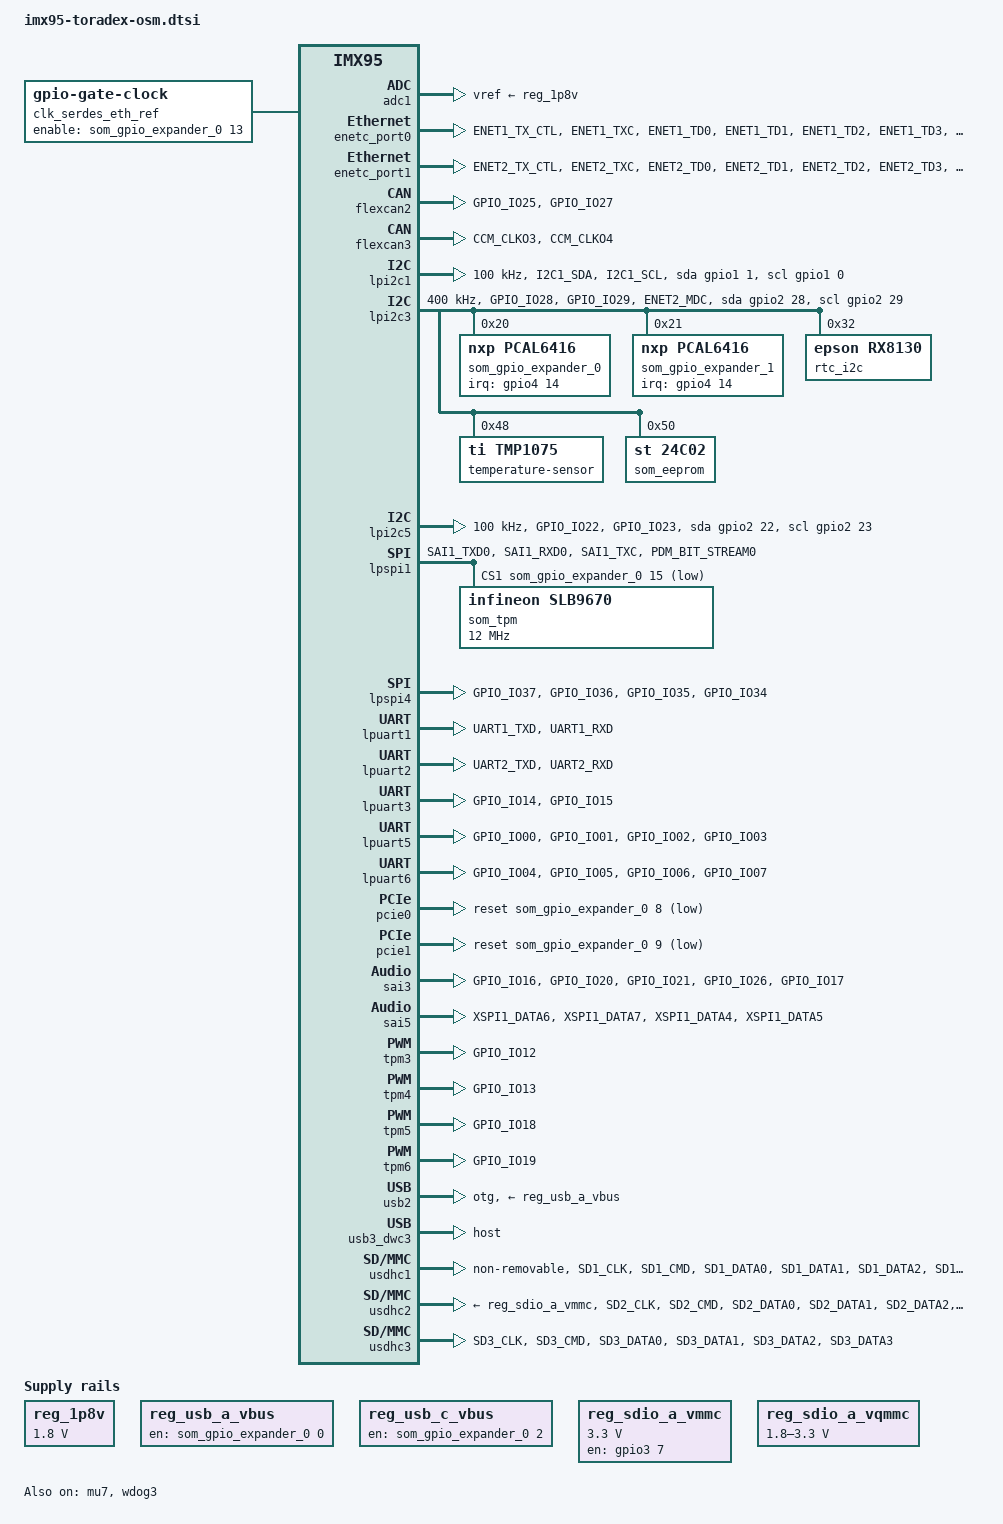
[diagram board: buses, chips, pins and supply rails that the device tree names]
// SPDX-License-Identifier: GPL-2.0-only OR MIT
/*
 * Copyright (c) Toradex
 *
 * Toradex OSM iMX95 SoM
 *
 * https://www.toradex.com/computer-on-modules/osm-arm-family/nxp-imx95
 */

#include "imx95.dtsi"

/ {
	aliases {
		can0 = &flexcan2;
		can1 = &flexcan3;
		eeprom0 = &som_eeprom;
		ethernet0 = &enetc_port0;
		ethernet1 = &enetc_port1;
		ethernet2 = &enetc_port2;
		i2c0 = &lpi2c3;
		i2c1 = &lpi2c1;
		i2c2 = &lpi2c5;
		mmc0 = &usdhc1;
		mmc1 = &usdhc2;
		mmc2 = &usdhc3;
		rtc0 = &rtc_i2c;
		rtc1 = &scmi_bbm;
		serial0 = &lpuart1;
		serial1 = &lpuart6;
		serial2 = &lpuart5;
		serial3 = &lpuart3;
		serial4 = &lpuart2;
		usb0 = &usb2;
		usb1 = &usb3;
	};

	chosen {
		stdout-path = "serial0:115200n8";
	};

	clk_serdes_eth_ref: clock-eth-ref {
		compatible = "gpio-gate-clock";
		#clock-cells = <0>;
		/* CTRL_ETH_REF_CLK_STBY# */
		enable-gpios = <&som_gpio_expander_0 13 GPIO_ACTIVE_HIGH>;
	};

	reg_1p8v: regulator-1p8v {
		compatible = "regulator-fixed";
		regulator-max-microvolt = <1800000>;
		regulator-min-microvolt = <1800000>;
		regulator-name = "On-module +V1.8";
	};

	reg_usb_a_vbus: regulator-usb-a-vbus {
		compatible = "regulator-fixed";
		/* OSM USB_A_EN (OSM_AC16) */
		gpios = <&som_gpio_expander_0 0 GPIO_ACTIVE_HIGH>;
		enable-active-high;
		regulator-name = "USB_A_EN";
	};

	reg_usb_c_vbus: regulator-usb-c-vbus {
		compatible = "regulator-fixed";
		/* OSM USB_C_EN (OSM_C10) */
		gpios = <&som_gpio_expander_0 2 GPIO_ACTIVE_HIGH>;
		enable-active-high;
		regulator-name = "USB_C_EN";
	};

	reg_sdio_a_vmmc: regulator-usdhc2-vmmc {
		compatible = "regulator-fixed";
		pinctrl-names = "default";
		pinctrl-0 = <&pinctrl_sdio_a_pwr_en>;
		gpios = <&gpio3 7 GPIO_ACTIVE_HIGH>;
		enable-active-high;
		off-on-delay-us = <100000>;
		regulator-max-microvolt = <3300000>;
		regulator-min-microvolt = <3300000>;
		regulator-name = "SDIO_A_PWR_EN";
		startup-delay-us = <20000>;
	};

	reg_sdio_a_vqmmc: regulator-usdhc2-vqmmc {
		compatible = "regulator-gpio";
		pinctrl-names = "default";
		pinctrl-0 = <&pinctrl_sdio_a_vsel>;
		gpios = <&gpio3 19 GPIO_ACTIVE_HIGH>;
		regulator-max-microvolt = <3300000>;
		regulator-min-microvolt = <1800000>;
		regulator-name = "PMIC_SDIO_A_VSEL";
		states = <1800000 0x1>, <3300000 0x0>;
	};

	remoteproc-cm7 {
		compatible = "fsl,imx95-cm7";
		mbox-names = "tx", "rx", "rxdb";
		mboxes = <&mu7 0 1 &mu7 1 1 &mu7 3 1>;
		memory-region = <&vdev0buffer>, <&vdev0vring0>, <&vdev0vring1>,
				<&vdev1vring0>, <&vdev1vring1>, <&rsc_table>, <&m7_reserved>;
	};

	reserved-memory {
		#address-cells = <2>;
		#size-cells = <2>;
		ranges;

		linux_cma: linux,cma {
			compatible = "shared-dma-pool";
			alloc-ranges = <0 0x80000000 0 0x7f000000>;
			linux,cma-default;
			reusable;
			size = <0 0x3c000000>;
		};

		m7_reserved: memory@80000000 {
			reg = <0 0x80000000 0 0x1000000>;
			no-map;
		};

		vdev0vring0: vdev0vring0@88000000 {
			reg = <0 0x88000000 0 0x8000>;
			no-map;
		};

		vdev0vring1: vdev0vring1@88008000 {
			reg = <0 0x88008000 0 0x8000>;
			no-map;
		};

		vdev1vring0: vdev1vring0@88010000 {
			reg = <0 0x88010000 0 0x8000>;
			no-map;
		};

		vdev1vring1: vdev1vring1@88018000 {
			reg = <0 0x88018000 0 0x8000>;
			no-map;
		};

		vdev0buffer: vdev0buffer@88020000 {
			compatible = "shared-dma-pool";
			reg = <0 0x88020000 0 0x100000>;
			no-map;
		};

		rsc_table: rsc-table@88220000 {
			reg = <0 0x88220000 0 0x1000>;
			no-map;
		};
	};
};

/* OSM ADC_0, ADC_1 */
&adc1 {
	vref-supply = <&reg_1p8v>;
};

/* OSM ETH_A */
&enetc_port0 {
	pinctrl-names = "default";
	pinctrl-0 = <&pinctrl_eth_a>;
};

/* OSM ETH_B */
&enetc_port1 {
	pinctrl-names = "default";
	pinctrl-0 = <&pinctrl_eth_b>;
};

/* OSM ETH_C */
&enetc_port2 {
	clocks = <&clk_serdes_eth_ref>;
	clock-names = "ref";
};

/* OSM CAN_A */
&flexcan2 {
	pinctrl-names = "default";
	pinctrl-0 = <&pinctrl_can_a>;
};

/* OSM CAN_B */
&flexcan3 {
	pinctrl-names = "default";
	pinctrl-0 = <&pinctrl_can_b>;
};

&gpio1 {
	gpio-line-names =
		"OSM_AA15", /* 0 */
		"OSM_AA16",
		"",
		"",
		"",
		"",
		"",
		"",
		"OSM_F19",
		"OSM_AA23",
		"OSM_G19", /* 10 */
		"OSM_L17"; /* OSM GPIO_A_7/SPI_B_CS1# */

	status = "okay";
};

&gpio2 {
	gpio-line-names =
		"", /* 0 */
		"",
		"",
		"",
		"",
		"",
		"",
		"",
		"",
		"",
		"", /* 10 */
		"",
		"",
		"",
		"",
		"",
		"",
		"",
		"",
		"",
		"", /* 20 */
		"",
		"OSM_AA21",
		"OSM_AA20",
		"",
		"",
		"",
		"",
		"I2C_SOM_SDA",
		"I2C_SOM_SCL";
};

&gpio3 {
	gpio-line-names =
		"OSM_J21", /* 0 */
		"",
		"",
		"",
		"",
		"",
		"",
		"OSM_D21",
		"",
		"",
		"", /* 10 */
		"",
		"",
		"",
		"",
		"",
		"",
		"",
		"",
		"PMIC_SDIO_A_VSEL";
};

&gpio4 {
	gpio-line-names =
		"", /* 0 */
		"",
		"",
		"",
		"",
		"",
		"",
		"",
		"",
		"",
		"", /* 10 */
		"",
		"",
		"",
		"CTRL_GPIO_EXP_INT#",
		"OSM_T2";
};

&gpio5 {
	gpio-line-names =
		"OSM_D17", /* OSM GPIO_A_0 */
		"OSM_E17", /* OSM GPIO_A_1 */
		"OSM_F17", /* OSM GPIO_A_2 */
		"OSM_G17", /* OSM GPIO_A_3 */
		"",
		"",
		"",
		"",
		"OSM_E19",
		"OSM_H17", /* OSM GPIO_A_4 */
		"OSM_J17", /* OSM GPIO_A_5 */
		"OSM_D19",
		"",
		"OSM_K17", /* OSM GPIO_A_6/SPI_A_CS1# */
		"OSM_Y15";
};

/* OSM I2C_A */
&lpi2c1 {
	pinctrl-names = "default", "gpio";
	pinctrl-0 = <&pinctrl_i2c_a>;
	pinctrl-1 = <&pinctrl_i2c_a_gpio>;
	clock-frequency = <100000>;
	scl-gpios = <&gpio1 0 (GPIO_ACTIVE_HIGH | GPIO_OPEN_DRAIN)>;
	sda-gpios = <&gpio1 1 (GPIO_ACTIVE_HIGH | GPIO_OPEN_DRAIN)>;
};

/* I2C_SOM */
&lpi2c3 {
	pinctrl-names = "default", "gpio";
	pinctrl-0 = <&pinctrl_i2c_som>, <&pinctrl_ctrl_gpio_exp_int>;
	pinctrl-1 = <&pinctrl_i2c_som_gpio>, <&pinctrl_ctrl_gpio_exp_int>;
	clock-frequency = <400000>;
	scl-gpios = <&gpio2 29 (GPIO_ACTIVE_HIGH | GPIO_OPEN_DRAIN)>;
	sda-gpios = <&gpio2 28 (GPIO_ACTIVE_HIGH | GPIO_OPEN_DRAIN)>;

	status = "okay";

	som_gpio_expander_0: gpio@20 {
		compatible = "nxp,pcal6416";
		reg = <0x20>;
		#interrupt-cells = <2>;
		interrupt-controller;
		interrupt-parent = <&gpio4>;
		interrupts = <14 IRQ_TYPE_LEVEL_LOW>;
		#gpio-cells = <2>;
		gpio-controller;
		gpio-line-names =
			"OSM_AC16", /* 0 */
			"OSM_AC15",
			"OSM_C10",
			"OSM_C8",
			"OSM_H19", /* OSM GPIO_B_4 */
			"OSM_J19", /* OSM GPIO_B_5 */
			"OSM_K19", /* OSM GPIO_B_6 */
			"OSM_L19", /* OSM GPIO_B_7 */
			"OSM_V2",
			"OSM_L33",
			"OSM_AN23", /* 10 */
			"OSM_AN14",
			"USB_RECOVERY_CTRL#",
			"CTRL_ETH_REF_CLK_STBY#",
			"CTRL_DSI_EN/CSI_EN#",
			"SPI_B_TPM_CS#";

		/*
		 * Switch USB to default position:
		 *   - SoC USB2 -> OSM USB_A
		 *   - SoC USB1 -> OSM USB_C
		 * Reset configuration:
		 *   - SoC USB1 -> OSM USB_A (USB recovery)
		 *   - SoC USB2 not connected
		 */
		usb_recov_ctrl: usb-recov-ctrl-hog {
			gpio-hog;
			gpios = <12 GPIO_ACTIVE_HIGH>;
			line-name = "USB_RECOVERY_CTRL#";
			output-high;
		};
	};

	som_gpio_expander_1: gpio@21 {
		compatible = "nxp,pcal6416";
		reg = <0x21>;
		#interrupt-cells = <2>;
		interrupt-controller;
		interrupt-parent = <&gpio4>;
		interrupts = <14 IRQ_TYPE_LEVEL_LOW>;
		#gpio-cells = <2>;
		gpio-controller;
		gpio-line-names =
			"OSM_D3",  /* OSM GPIO_C_0 */
			"OSM_D4",  /* OSM GPIO_C_1 */
			"OSM_E3",  /* OSM GPIO_C_2/CAM_B_PWR   */
			"OSM_E4",  /* OSM GPIO_C_3/CAM_B_RST#  */
			"OSM_F3",  /* OSM GPIO_C_4/DISP_VDD_EN */
			"OSM_F4",  /* OSM GPIO_C_5/DISP_BL_EN  */
			"OSM_G3",  /* OSM GPIO_C_6/CAM_A_PWR   */
			"OSM_G4",  /* OSM GPIO_C_7/CAM_A_RST#  */
			"OSM_U32",
			"OSM_U33",
			"OSM_V32", /* 10 */
			"OSM_V33",
			"OSM_W32",
			"OSM_W33",
			"OSM_Y32",
			"OSM_Y33";
	};

	rtc_i2c: rtc@32 {
		compatible = "epson,rx8130";
		reg = <0x32>;
	};

	temperature-sensor@48 {
		compatible = "ti,tmp1075";
		reg = <0x48>;
	};

	som_eeprom: eeprom@50 {
		compatible = "st,24c02", "atmel,24c02";
		reg = <0x50>;
		pagesize = <16>;
	};
};

/* OSM I2C_B */
&lpi2c5 {
	pinctrl-names = "default", "gpio";
	pinctrl-0 = <&pinctrl_i2c_b>;
	pinctrl-1 = <&pinctrl_i2c_b_gpio>;
	clock-frequency = <100000>;
	scl-gpios = <&gpio2 23 (GPIO_ACTIVE_HIGH | GPIO_OPEN_DRAIN)>;
	sda-gpios = <&gpio2 22 (GPIO_ACTIVE_HIGH | GPIO_OPEN_DRAIN)>;
};

/* OSM SPI_B */
&lpspi1 {
	pinctrl-names = "default";
	pinctrl-0 = <&pinctrl_spi_b>, <&pinctrl_spi_b_cs0_gpio>;
	cs-gpios = <&gpio1 9 GPIO_ACTIVE_LOW>,
		   <&som_gpio_expander_0 15 GPIO_ACTIVE_LOW>;

	status = "okay";

	som_tpm: tpm@1 {
		compatible = "infineon,slb9670", "tcg,tpm_tis-spi";
		reg = <0x1>;
		/*
		 * Maximum TPM-supported speed is 18.5 MHz, limited to 12 MHz
		 * here as lpspi1's per-clock (twice the max speed) is 24 MHz
		 */
		spi-max-frequency = <12000000>;
	};
};

/* OSM SPI_A */
&lpspi4 {
	pinctrl-names = "default";
	pinctrl-0 = <&pinctrl_spi_a>, <&pinctrl_spi_a_cs0_gpio>;
	cs-gpios = <&gpio5 14 GPIO_ACTIVE_LOW>;
};

/* OSM UART_CON, used as the Linux Console */
&lpuart1 {
	pinctrl-names = "default";
	pinctrl-0 = <&pinctrl_uart_con>;
};

/* OSM UART_D */
&lpuart2 {
	pinctrl-names = "default";
	pinctrl-0 = <&pinctrl_uart_d>;
};

/* OSM UART_C */
&lpuart3 {
	pinctrl-names = "default";
	pinctrl-0 = <&pinctrl_uart_c>;
};

/* OSM UART_B */
&lpuart5 {
	pinctrl-names = "default";
	pinctrl-0 = <&pinctrl_uart_b>;
	uart-has-rtscts;
};

/* OSM UART_A */
&lpuart6 {
	pinctrl-names = "default";
	pinctrl-0 = <&pinctrl_uart_a>;
	uart-has-rtscts;
};

&mu7 {
	status = "okay";
};

/* OSM PCIE_A */
&pcie0 {
	/* PCIE_A_PERST# (OSM V2) */
	reset-gpios = <&som_gpio_expander_0 8 GPIO_ACTIVE_LOW>;
};

/* OSM PCIE_B */
&pcie1 {
	/* PCIE_B_PERST# (OSM L33) */
	reset-gpios = <&som_gpio_expander_0 9 GPIO_ACTIVE_LOW>;
};

/* OSM I2S_A */
&sai3 {
	pinctrl-names = "default";
	pinctrl-0 = <&pinctrl_i2s_a>, <&pinctrl_i2s_mclk>;
	assigned-clocks = <&scmi_clk IMX95_CLK_AUDIOPLL1_VCO>,
			  <&scmi_clk IMX95_CLK_AUDIOPLL2_VCO>,
			  <&scmi_clk IMX95_CLK_AUDIOPLL1>,
			  <&scmi_clk IMX95_CLK_AUDIOPLL2>,
			  <&scmi_clk IMX95_CLK_SAI3>;
	assigned-clock-parents = <0>, <0>, <0>, <0>,
				 <&scmi_clk IMX95_CLK_AUDIOPLL1>;
	assigned-clock-rates = <3932160000>,
			       <3612672000>,
			       <393216000>,
			       <361267200>,
			       <12288000>;
	#sound-dai-cells = <0>;
	fsl,sai-mclk-direction-output;
};

/* OSM I2S_B */
&sai5 {
	pinctrl-names = "default";
	pinctrl-0 = <&pinctrl_i2s_b>;
	assigned-clocks = <&scmi_clk IMX95_CLK_AUDIOPLL1_VCO>,
			  <&scmi_clk IMX95_CLK_AUDIOPLL2_VCO>,
			  <&scmi_clk IMX95_CLK_AUDIOPLL1>,
			  <&scmi_clk IMX95_CLK_AUDIOPLL2>,
			  <&scmi_clk IMX95_CLK_SAI5>;
	assigned-clock-parents = <0>, <0>, <0>, <0>,
				 <&scmi_clk IMX95_CLK_AUDIOPLL1>;
	assigned-clock-rates = <3932160000>,
			       <3612672000>,
			       <393216000>,
			       <361267200>,
			       <12288000>;
	#sound-dai-cells = <0>;
	fsl,sai-mclk-direction-output;
};

&scmi_bbm {
	linux,code = <KEY_POWER>;
};

&thermal_zones {
	/* PF09 Main PMIC */
	pf09-thermal {
		polling-delay = <2000>;
		polling-delay-passive = <250>;
		thermal-sensors = <&scmi_sensor 2>;

		trips {
			trip0 {
				hysteresis = <2000>;
				temperature = <155000>;
				type = "critical";
			};
		};
	};

	/* PF53 VDD_ARM PMIC */
	pf53-arm-thermal {
		polling-delay = <2000>;
		polling-delay-passive = <250>;
		thermal-sensors = <&scmi_sensor 4>;

		trips {
			trip0 {
				hysteresis = <2000>;
				temperature = <155000>;
				type = "critical";
			};
		};
	};

	/* PF53 VDD_SOC PMIC */
	pf53-soc-thermal {
		polling-delay = <2000>;
		polling-delay-passive = <250>;
		thermal-sensors = <&scmi_sensor 3>;

		trips {
			trip0 {
				hysteresis = <2000>;
				temperature = <155000>;
				type = "critical";
			};
		};
	};
};

/* OSM PWM_0 */
&tpm3 {
	pinctrl-names = "default";
	pinctrl-0 = <&pinctrl_pwm0>;
};

/* OSM PWM_1 */
&tpm4 {
	pinctrl-names = "default";
	pinctrl-0 = <&pinctrl_pwm1>;
};

/* OSM PWM_2 */
&tpm5 {
	pinctrl-names = "default";
	pinctrl-0 = <&pinctrl_pwm2>;
};

/* OSM PWM_3 */
&tpm6 {
	pinctrl-names = "default";
	pinctrl-0 = <&pinctrl_pwm3>;
};

/* OSM USB_A */
&usb2 {
	adp-disable;
	disable-over-current;
	dr_mode = "otg";
	hnp-disable;
	srp-disable;
	usb-role-switch;
	vbus-supply = <&reg_usb_a_vbus>;
};

/* OSM USB_C */
&usb3 {
	fsl,disable-port-power-control;
};

&usb3_dwc3 {
	dr_mode = "host";
};

&usb3_phy {
	vbus-supply = <&reg_usb_c_vbus>;
};

/* On-module eMMC */
&usdhc1 {
	pinctrl-names = "default", "state_100mhz", "state_200mhz";
	pinctrl-0 = <&pinctrl_emmc>;
	pinctrl-1 = <&pinctrl_emmc>;
	pinctrl-2 = <&pinctrl_emmc_200mhz>;
	no-sd;
	no-sdio;
	non-removable;

	status = "okay";
};

/* OSM SDIO_A */
&usdhc2 {
	pinctrl-names = "default", "state_100mhz", "state_200mhz", "sleep";
	pinctrl-0 = <&pinctrl_sdio_a>, <&pinctrl_sdio_a_cd>;
	pinctrl-1 = <&pinctrl_sdio_a>, <&pinctrl_sdio_a_cd>;
	pinctrl-2 = <&pinctrl_sdio_a_200mhz>, <&pinctrl_sdio_a_cd>;
	pinctrl-3 = <&pinctrl_sdio_a_sleep>, <&pinctrl_sdio_a_cd>;
	cd-gpios = <&gpio3 0 GPIO_ACTIVE_LOW>;
	disable-wp;
	vmmc-supply = <&reg_sdio_a_vmmc>;
	vqmmc-supply = <&reg_sdio_a_vqmmc>;
};

/* OSM SDIO_B */
&usdhc3 {
	pinctrl-names = "default", "state_100mhz", "state_200mhz";
	pinctrl-0 = <&pinctrl_sdio_b>;
	pinctrl-1 = <&pinctrl_sdio_b>;
	pinctrl-2 = <&pinctrl_sdio_b_200mhz>;
	disable-wp;
};

&wdog3 {
	fsl,ext-reset-output;

	status = "okay";
};

&scmi_iomuxc {
	/* OSM MDIO, shared between all ethernet ports */
	pinctrl_mdio: emdiogrp {
		fsl,pins = <IMX95_PAD_ENET1_MDC__NETCMIX_TOP_NETC_MDC	0x50e>, /* OSM T16 */
			   <IMX95_PAD_ENET1_MDIO__NETCMIX_TOP_NETC_MDIO	0x90e>; /* OSM T15 */
	};

	/* OSM ETH_A */
	pinctrl_eth_a: enetc0grp {
		fsl,pins = <IMX95_PAD_ENET1_TX_CTL__NETCMIX_TOP_ETH0_RGMII_TX_CTL	0x57e>, /* OSM K16 */
			   <IMX95_PAD_ENET1_TXC__NETCMIX_TOP_ETH0_RGMII_TX_CLK		0x58e>, /* OSM J15 */
			   <IMX95_PAD_ENET1_TD0__NETCMIX_TOP_ETH0_RGMII_TD0		0x50e>, /* OSM H15 */
			   <IMX95_PAD_ENET1_TD1__NETCMIX_TOP_ETH0_RGMII_TD1		0x50e>, /* OSM G15 */
			   <IMX95_PAD_ENET1_TD2__NETCMIX_TOP_ETH0_RGMII_TD2		0x50e>, /* OSM H16 */
			   <IMX95_PAD_ENET1_TD3__NETCMIX_TOP_ETH0_RGMII_TD3		0x50e>, /* OSM G16 */
			   <IMX95_PAD_ENET1_RX_CTL__NETCMIX_TOP_ETH0_RGMII_RX_CTL	0x57e>, /* OSM M15 */
			   <IMX95_PAD_ENET1_RXC__NETCMIX_TOP_ETH0_RGMII_RX_CLK		0x58e>, /* OSM R15 */
			   <IMX95_PAD_ENET1_RD0__NETCMIX_TOP_ETH0_RGMII_RD0		0x57e>, /* OSM K15 */
			   <IMX95_PAD_ENET1_RD1__NETCMIX_TOP_ETH0_RGMII_RD1		0x57e>, /* OSM L15 */
			   <IMX95_PAD_ENET1_RD2__NETCMIX_TOP_ETH0_RGMII_RD2		0x57e>, /* OSM N15 */
			   <IMX95_PAD_ENET1_RD3__NETCMIX_TOP_ETH0_RGMII_RD3		0x57e>; /* OSM P15 */
	};

	/* OSM ETH_B */
	pinctrl_eth_b: enetc1grp {
		fsl,pins = <IMX95_PAD_ENET2_TX_CTL__NETCMIX_TOP_ETH1_RGMII_TX_CTL	0x57e>, /* OSM J2 */
			   <IMX95_PAD_ENET2_TXC__NETCMIX_TOP_ETH1_RGMII_TX_CLK		0x58e>, /* OSM H1 */
			   <IMX95_PAD_ENET2_TD0__NETCMIX_TOP_ETH1_RGMII_TD0		0x50e>, /* OSM G1 */
			   <IMX95_PAD_ENET2_TD1__NETCMIX_TOP_ETH1_RGMII_TD1		0x50e>, /* OSM F1 */
			   <IMX95_PAD_ENET2_TD2__NETCMIX_TOP_ETH1_RGMII_TD2		0x50e>, /* OSM G2 */
			   <IMX95_PAD_ENET2_TD3__NETCMIX_TOP_ETH1_RGMII_TD3		0x50e>, /* OSM F2 */
			   <IMX95_PAD_ENET2_RX_CTL__NETCMIX_TOP_ETH1_RGMII_RX_CTL	0x57e>, /* OSM L1 */
			   <IMX95_PAD_ENET2_RXC__NETCMIX_TOP_ETH1_RGMII_RX_CLK		0x58e>, /* OSM P1 */
			   <IMX95_PAD_ENET2_RD0__NETCMIX_TOP_ETH1_RGMII_RD0		0x57e>, /* OSM J1 */
			   <IMX95_PAD_ENET2_RD1__NETCMIX_TOP_ETH1_RGMII_RD1		0x57e>, /* OSM K1 */
			   <IMX95_PAD_ENET2_RD2__NETCMIX_TOP_ETH1_RGMII_RD2		0x57e>, /* OSM M1 */
			   <IMX95_PAD_ENET2_RD3__NETCMIX_TOP_ETH1_RGMII_RD3		0x57e>; /* OSM N1 */
	};

	/* OSM CAN_A */
	pinctrl_can_a: flexcan2grp {
		fsl,pins = <IMX95_PAD_GPIO_IO25__CAN2_TX	0x39e>, /* OSM AC17 */
			   <IMX95_PAD_GPIO_IO27__CAN2_RX	0x39e>; /* OSM AB17 */
	};

	/* OSM CAN_B */
	pinctrl_can_b: flexcan3grp {
		fsl,pins = <IMX95_PAD_CCM_CLKO3__CAN3_TX	0x39e>, /* OSM AC19 */
			   <IMX95_PAD_CCM_CLKO4__CAN3_RX	0x39e>; /* OSM AB19 */
	};

	/* OSM GPIO_B_2 */
	pinctrl_gpio_b2: gpio1io8grp {
		fsl,pins = <IMX95_PAD_PDM_CLK__AONMIX_TOP_GPIO1_IO_BIT8	0x31e>; /* OSM F19 */
	};

	/* OSM SPI_B_CS0# */
	pinctrl_spi_b_cs0_gpio: gpio1io9grp {
		fsl,pins = <IMX95_PAD_PDM_BIT_STREAM0__AONMIX_TOP_GPIO1_IO_BIT9	0x3fe>; /* OSM AA23 */
	};

	/* OSM GPIO_B_3 */
	pinctrl_gpio_b3: gpio1io10grp {
		fsl,pins = <IMX95_PAD_PDM_BIT_STREAM1__AONMIX_TOP_GPIO1_IO_BIT10	0x31e>; /* OSM G19 */
	};

	/* OSM GPIO_A_7/SPI_B_CS1# */
	pinctrl_gpio_a7: gpio1io11grp {
		fsl,pins = <IMX95_PAD_SAI1_TXFS__AONMIX_TOP_GPIO1_IO_BIT11	0x31e>; /* OSM L17 */
	};

	/* OSM PWM_0 as GPIO */
	pinctrl_pwm0_gpio: gpio2io12grp {
		fsl,pins = <IMX95_PAD_GPIO_IO12__GPIO2_IO_BIT12	0x31e>; /* OSM E18 */
	};

	/* OSM GPIO_A_0 */
	pinctrl_gpio_a0: gpio5io0grp {
		fsl,pins = <IMX95_PAD_XSPI1_DATA0__GPIO5_IO_BIT0	0x31e>; /* OSM D17 */
	};

	/* OSM GPIO_A_1 */
	pinctrl_gpio_a1: gpio5io1grp {
		fsl,pins = <IMX95_PAD_XSPI1_DATA1__GPIO5_IO_BIT1	0x31e>; /* OSM E17 */
	};

	/* OSM GPIO_A_2 */
	pinctrl_gpio_a2: gpio5io2grp {
		fsl,pins = <IMX95_PAD_XSPI1_DATA2__GPIO5_IO_BIT2	0x31e>; /* OSM F17 */
	};

	/* OSM GPIO_A_3 */
	pinctrl_gpio_a3: gpio5io3grp {
		fsl,pins = <IMX95_PAD_XSPI1_DATA3__GPIO5_IO_BIT3	0x31e>; /* OSM G17 */
	};

	/* OSM GPIO_B_1 */
	pinctrl_gpio_b1: gpio5io8grp {
		fsl,pins = <IMX95_PAD_XSPI1_DQS__GPIO5_IO_BIT8	0x31e>; /* OSM E19 */
	};

	/* OSM GPIO_A_4 */
	pinctrl_gpio_a4: gpio5io9grp {
		fsl,pins = <IMX95_PAD_XSPI1_SCLK__GPIO5_IO_BIT9		0x31e>; /* OSM H17 */
	};

	/* OSM GPIO_A_5 */
	pinctrl_gpio_a5: gpio5io10grp {
		fsl,pins = <IMX95_PAD_XSPI1_SS0_B__GPIO5_IO_BIT10	0x31e>; /* OSM J17 */
	};

	/* OSM GPIO_B_0 */
	pinctrl_gpio_b0: gpio5io11grp {
		fsl,pins = <IMX95_PAD_XSPI1_SS1_B__GPIO5_IO_BIT11	0x31e>; /* OSM D19 */
	};

	/* OSM GPIO_A_6/SPI_A_CS1# */
	pinctrl_gpio_a6: gpio5io13grp {
		fsl,pins = <IMX95_PAD_GPIO_IO33__GPIO5_IO_BIT13		0x31e>; /* OSM K17 */
	};

	/* OSM SPI_A_CS0# */
	pinctrl_spi_a_cs0_gpio: gpio5io14grp {
		fsl,pins = <IMX95_PAD_GPIO_IO34__GPIO5_IO_BIT14	0x3fe>; /* OSM Y15 */
	};

	pinctrl_ctrl_gpio_exp_int: gpioexpintgrp {
		fsl,pins = <IMX95_PAD_ENET2_MDC__GPIO4_IO_BIT14	0x31e>; /* CTRL_GPIO_EXP_INT# */
	};

	/* OSM I2C_A as GPIOs */
	pinctrl_i2c_a_gpio: lpi2c1gpiogrp {
		fsl,pins = <IMX95_PAD_I2C1_SDA__AONMIX_TOP_GPIO1_IO_BIT1	0x40000b9e>, /* OSM AA16 */
			   <IMX95_PAD_I2C1_SCL__AONMIX_TOP_GPIO1_IO_BIT0	0x40000b9e>; /* OSM AA15 */
	};

	/* OSM I2C_A */
	pinctrl_i2c_a: lpi2c1grp {
		fsl,pins = <IMX95_PAD_I2C1_SDA__AONMIX_TOP_LPI2C1_SDA	0x40000b9e>, /* OSM AA16 */
			   <IMX95_PAD_I2C1_SCL__AONMIX_TOP_LPI2C1_SCL	0x40000b9e>; /* OSM AA15 */
	};

	/* I2C_SOM (On-module I2C) as GPIOs */
	pinctrl_i2c_som_gpio: lpi2c3gpiogrp {
		fsl,pins = <IMX95_PAD_GPIO_IO28__GPIO2_IO_BIT28	0x40001b9e>, /* I2C_SOM_SDA */
			   <IMX95_PAD_GPIO_IO29__GPIO2_IO_BIT29	0x40001b9e>; /* I2C_SOM_SCL */
	};

	/* I2C_SOM (On-module I2C) */
	pinctrl_i2c_som: lpi2c3grp {
		fsl,pins = <IMX95_PAD_GPIO_IO28__LPI2C3_SDA	0x40001b9e>, /* I2C_SOM_SDA */
			   <IMX95_PAD_GPIO_IO29__LPI2C3_SCL	0x40001b9e>; /* I2C_SOM_SCL */
	};

	/* OSM I2C_B as GPIOs */
	pinctrl_i2c_b_gpio: lpi2c5gpiogrp {
		fsl,pins = <IMX95_PAD_GPIO_IO22__GPIO2_IO_BIT22	0x40001b9e>, /* OSM AA21 */
			   <IMX95_PAD_GPIO_IO23__GPIO2_IO_BIT23	0x40001b9e>; /* OSM AA20 */
	};

	/* OSM I2C_B */
	pinctrl_i2c_b: lpi2c5grp {
		fsl,pins = <IMX95_PAD_GPIO_IO22__LPI2C5_SDA	0x40001b9e>, /* OSM AA21 */
			   <IMX95_PAD_GPIO_IO23__LPI2C5_SCL	0x40001b9e>; /* OSM AA20 */
	};

	/* OSM SPI_B */
	pinctrl_spi_b: lpspi1grp {
		fsl,pins = <IMX95_PAD_SAI1_TXD0__AONMIX_TOP_LPSPI1_SCK	0x3fe>, /* OSM Y21 */
			   <IMX95_PAD_SAI1_RXD0__AONMIX_TOP_LPSPI1_SOUT	0x3fe>, /* OSM Y23 */
			   <IMX95_PAD_SAI1_TXC__AONMIX_TOP_LPSPI1_SIN	0x3fe>; /* OSM Y22 */
	};

	/* OSM SPI_A */
	pinctrl_spi_a: lpspi4grp {
		fsl,pins = <IMX95_PAD_GPIO_IO37__LPSPI4_SCK	0x3fe>, /* OSM U16 */
			   <IMX95_PAD_GPIO_IO36__LPSPI4_SOUT	0x3fe>, /* OSM V15 */
			   <IMX95_PAD_GPIO_IO35__LPSPI4_SIN	0x3fe>; /* OSM U15 */
	};

	/* OSM UART_CON */
	pinctrl_uart_con: lpuart1grp {
		fsl,pins = <IMX95_PAD_UART1_TXD__AONMIX_TOP_LPUART1_TX	0x31e>, /* OSM D23 */
			   <IMX95_PAD_UART1_RXD__AONMIX_TOP_LPUART1_RX	0x31e>; /* OSM D22 */
	};

	/* OSM UART_D */
	pinctrl_uart_d: lpuart2grp {
		fsl,pins = <IMX95_PAD_UART2_TXD__AONMIX_TOP_LPUART2_TX	0x31e>, /* OSM C23 */
			   <IMX95_PAD_UART2_RXD__AONMIX_TOP_LPUART2_RX	0x31e>; /* OSM C22 */
	};

	/* OSM UART_C */
	pinctrl_uart_c: lpuart3grp {
		fsl,pins = <IMX95_PAD_GPIO_IO14__LPUART3_TX	0x31e>, /* OSM B23 */
			   <IMX95_PAD_GPIO_IO15__LPUART3_RX	0x31e>; /* OSM A22 */
	};

	/* OSM UART_B */
	pinctrl_uart_b: lpuart5grp {
		fsl,pins = <IMX95_PAD_GPIO_IO00__LPUART5_TX	0x31e>, /* OSM D13 */
			   <IMX95_PAD_GPIO_IO01__LPUART5_RX	0x31e>, /* OSM D14 */
			   <IMX95_PAD_GPIO_IO02__LPUART5_CTS_B	0x31e>, /* OSM D16 */
			   <IMX95_PAD_GPIO_IO03__LPUART5_RTS_B	0x31e>; /* OSM D15 */
	};

	/* OSM UART_A */
	pinctrl_uart_a: lpuart6grp {
		fsl,pins = <IMX95_PAD_GPIO_IO04__LPUART6_TX	0x31e>, /* OSM B13 */
			   <IMX95_PAD_GPIO_IO05__LPUART6_RX	0x31e>, /* OSM A14 */
			   <IMX95_PAD_GPIO_IO06__LPUART6_CTS_B	0x31e>, /* OSM C14 */
			   <IMX95_PAD_GPIO_IO07__LPUART6_RTS_B	0x31e>; /* OSM C13 */
	};

	/* OSM PCIE_WAKE# */
	pinctrl_pcie_wake: pciewakegrp {
		fsl,pins = <IMX95_PAD_ENET2_MDIO__GPIO4_IO_BIT15	0x31e>; /* OSM T2 */
	};

	/* OSM I2S_A */
	pinctrl_i2s_a: sai3grp {
		fsl,pins = <IMX95_PAD_GPIO_IO16__SAI3_TX_BCLK		0x11e>, /* OSM W20 */
			   <IMX95_PAD_GPIO_IO20__SAI3_RX_DATA_BIT0	0x11e>, /* OSM V21 */
			   <IMX95_PAD_GPIO_IO21__SAI3_TX_DATA_BIT0	0x11e>, /* OSM W21 */
			   <IMX95_PAD_GPIO_IO26__SAI3_TX_SYNC		0x11e>; /* OSM W18 */
	};

	/* OSM I2S_MCLK */
	pinctrl_i2s_mclk: sai3mclkgrp {
		fsl,pins = <IMX95_PAD_GPIO_IO17__SAI3_MCLK	0x31e>; /* OSM V18 */
	};

	/* OSM I2S_B */
	pinctrl_i2s_b: sai5grp {
		fsl,pins = <IMX95_PAD_XSPI1_DATA6__SAI5_TX_BCLK		0x11e>, /* OSM T19 */
			   <IMX95_PAD_XSPI1_DATA7__SAI5_RX_DATA_BIT0	0x11e>, /* OSM V19 */
			   <IMX95_PAD_XSPI1_DATA4__SAI5_TX_DATA_BIT0	0x11e>, /* OSM W19 */
			   <IMX95_PAD_XSPI1_DATA5__SAI5_TX_SYNC		0x11e>; /* OSM T18 */
	};

	/* OSM PWM_0 */
	pinctrl_pwm0: tpm3ch2grp {
		fsl,pins = <IMX95_PAD_GPIO_IO12__TPM3_CH2	0x51e>; /* OSM E18 */
	};

	/* OSM PWM_1 */
	pinctrl_pwm1: tpm4ch2grp {
		fsl,pins = <IMX95_PAD_GPIO_IO13__TPM4_CH2	0x51e>; /* OSM F18 */
	};

	/* OSM PWM_2 */
	pinctrl_pwm2: tpm5ch2grp {
		fsl,pins = <IMX95_PAD_GPIO_IO18__TPM5_CH2	0x51e>; /* OSM G18 */
	};

	/* OSM PWM_3 */
	pinctrl_pwm3: tpm6ch2grp {
		fsl,pins = <IMX95_PAD_GPIO_IO19__TPM6_CH2	0x51e>; /* OSM H18 */
	};

	/* On-module eMMC (max 200MHz) */
	pinctrl_emmc_200mhz: usdhc1-200mhzgrp {
		fsl,pins = <IMX95_PAD_SD1_CLK__USDHC1_CLK	0x15fe>, /* eMMC_CLK    */
			   <IMX95_PAD_SD1_CMD__USDHC1_CMD	0x13fe>, /* eMMC_CMD    */
			   <IMX95_PAD_SD1_DATA0__USDHC1_DATA0	0x13fe>, /* eMMC_DATA0  */
			   <IMX95_PAD_SD1_DATA1__USDHC1_DATA1	0x13fe>, /* eMMC_DATA1  */
			   <IMX95_PAD_SD1_DATA2__USDHC1_DATA2	0x13fe>, /* eMMC_DATA2  */
			   <IMX95_PAD_SD1_DATA3__USDHC1_DATA3	0x13fe>, /* eMMC_DATA3  */
			   <IMX95_PAD_SD1_DATA4__USDHC1_DATA4	0x13fe>, /* eMMC_DATA4  */
			   <IMX95_PAD_SD1_DATA5__USDHC1_DATA5	0x13fe>, /* eMMC_DATA5  */
			   <IMX95_PAD_SD1_DATA6__USDHC1_DATA6	0x13fe>, /* eMMC_DATA6  */
			   <IMX95_PAD_SD1_DATA7__USDHC1_DATA7	0x13fe>, /* eMMC_DATA7  */
			   <IMX95_PAD_SD1_STROBE__USDHC1_STROBE	0x15fe>; /* eMMC_STROBE */
	};

	/* On-module eMMC (max 100MHz) */
	pinctrl_emmc: usdhc1grp {
		fsl,pins = <IMX95_PAD_SD1_CLK__USDHC1_CLK	0x158e>, /* eMMC_CLK    */
			   <IMX95_PAD_SD1_CMD__USDHC1_CMD	0x138e>, /* eMMC_CMD    */
			   <IMX95_PAD_SD1_DATA0__USDHC1_DATA0	0x138e>, /* eMMC_DATA0  */
			   <IMX95_PAD_SD1_DATA1__USDHC1_DATA1	0x138e>, /* eMMC_DATA1  */
			   <IMX95_PAD_SD1_DATA2__USDHC1_DATA2	0x138e>, /* eMMC_DATA2  */
			   <IMX95_PAD_SD1_DATA3__USDHC1_DATA3	0x138e>, /* eMMC_DATA3  */
			   <IMX95_PAD_SD1_DATA4__USDHC1_DATA4	0x138e>, /* eMMC_DATA4  */
			   <IMX95_PAD_SD1_DATA5__USDHC1_DATA5	0x138e>, /* eMMC_DATA5  */
			   <IMX95_PAD_SD1_DATA6__USDHC1_DATA6	0x138e>, /* eMMC_DATA6  */
			   <IMX95_PAD_SD1_DATA7__USDHC1_DATA7	0x138e>, /* eMMC_DATA7  */
			   <IMX95_PAD_SD1_STROBE__USDHC1_STROBE	0x158e>; /* eMMC_STROBE */
	};

	/* OSM SDIO_A (max 200MHz) */
	pinctrl_sdio_a_200mhz: usdhc2-200mhzgrp {
		fsl,pins = <IMX95_PAD_SD2_CLK__USDHC2_CLK	0x15fe>, /* OSM F21 */
			   <IMX95_PAD_SD2_CMD__USDHC2_CMD	0x13fe>, /* OSM E20 */
			   <IMX95_PAD_SD2_DATA0__USDHC2_DATA0	0x13fe>, /* OSM G20 */
			   <IMX95_PAD_SD2_DATA1__USDHC2_DATA1	0x13fe>, /* OSM G21 */
			   <IMX95_PAD_SD2_DATA2__USDHC2_DATA2	0x13fe>, /* OSM H20 */
			   <IMX95_PAD_SD2_DATA3__USDHC2_DATA3	0x13fe>; /* OSM H21 */
	};

	/* OSM SDIO_A_CD# */
	pinctrl_sdio_a_cd: usdhc2-cdgrp {
		fsl,pins = <IMX95_PAD_SD2_CD_B__GPIO3_IO_BIT0	0x1100>; /* OSM J21 */
	};

	/* OSM SDIO_A_PWR_EN */
	pinctrl_sdio_a_pwr_en: usdhc2-pwrengrp {
		fsl,pins = <IMX95_PAD_SD2_RESET_B__GPIO3_IO_BIT7	0x11e>; /* OSM D21 */
	};

	/* OSM SDIO_A (sleep mode) */
	pinctrl_sdio_a_sleep: usdhc2-sleepgrp {
		fsl,pins = <IMX95_PAD_SD2_CLK__USDHC2_CLK	0x400>, /* OSM F21 */
			   <IMX95_PAD_SD2_CMD__USDHC2_CMD	0x400>, /* OSM E20 */
			   <IMX95_PAD_SD2_DATA0__USDHC2_DATA0	0x400>, /* OSM G20 */
			   <IMX95_PAD_SD2_DATA1__USDHC2_DATA1	0x400>, /* OSM G21 */
			   <IMX95_PAD_SD2_DATA2__USDHC2_DATA2	0x400>, /* OSM H20 */
			   <IMX95_PAD_SD2_DATA3__USDHC2_DATA3	0x400>; /* OSM H21 */
	};

	/* PMIC_SDIO_A_VSEL */
	pinctrl_sdio_a_vsel: usdhc2-vselgrp {
		fsl,pins = <IMX95_PAD_SD2_VSELECT__GPIO3_IO_BIT19	0x4>; /* PMIC_SDIO_A_VSEL */
	};

	/* OSM SDIO_A (max 100MHz) */
	pinctrl_sdio_a: usdhc2grp {
		fsl,pins = <IMX95_PAD_SD2_CLK__USDHC2_CLK	0x158e>, /* OSM F21 */
			   <IMX95_PAD_SD2_CMD__USDHC2_CMD	0x138e>, /* OSM E20 */
			   <IMX95_PAD_SD2_DATA0__USDHC2_DATA0	0x138e>, /* OSM G20 */
			   <IMX95_PAD_SD2_DATA1__USDHC2_DATA1	0x138e>, /* OSM G21 */
			   <IMX95_PAD_SD2_DATA2__USDHC2_DATA2	0x138e>, /* OSM H20 */
			   <IMX95_PAD_SD2_DATA3__USDHC2_DATA3	0x138e>; /* OSM H21 */
	};

	/* OSM SDIO_B (max 200MHz) */
	pinctrl_sdio_b_200mhz: usdhc3-200mhzgrp {
		fsl,pins = <IMX95_PAD_SD3_CLK__USDHC3_CLK	0x15fe>, /* OSM K20 */
			   <IMX95_PAD_SD3_CMD__USDHC3_CMD	0x13fe>, /* OSM K21 */
			   <IMX95_PAD_SD3_DATA0__USDHC3_DATA0	0x13fe>, /* OSM L20 */
			   <IMX95_PAD_SD3_DATA1__USDHC3_DATA1	0x13fe>, /* OSM L21 */
			   <IMX95_PAD_SD3_DATA2__USDHC3_DATA2	0x13fe>, /* OSM M21 */
			   <IMX95_PAD_SD3_DATA3__USDHC3_DATA3	0x13fe>; /* OSM N20 */
	};

	/* OSM SDIO_B (max 100MHz) */
	pinctrl_sdio_b: usdhc3grp {
		fsl,pins = <IMX95_PAD_SD3_CLK__USDHC3_CLK	0x158e>, /* OSM K20 */
			   <IMX95_PAD_SD3_CMD__USDHC3_CMD	0x138e>, /* OSM K21 */
			   <IMX95_PAD_SD3_DATA0__USDHC3_DATA0	0x138e>, /* OSM L20 */
			   <IMX95_PAD_SD3_DATA1__USDHC3_DATA1	0x138e>, /* OSM L21 */
			   <IMX95_PAD_SD3_DATA2__USDHC3_DATA2	0x138e>, /* OSM M21 */
			   <IMX95_PAD_SD3_DATA3__USDHC3_DATA3	0x138e>; /* OSM N20 */
	};
};
